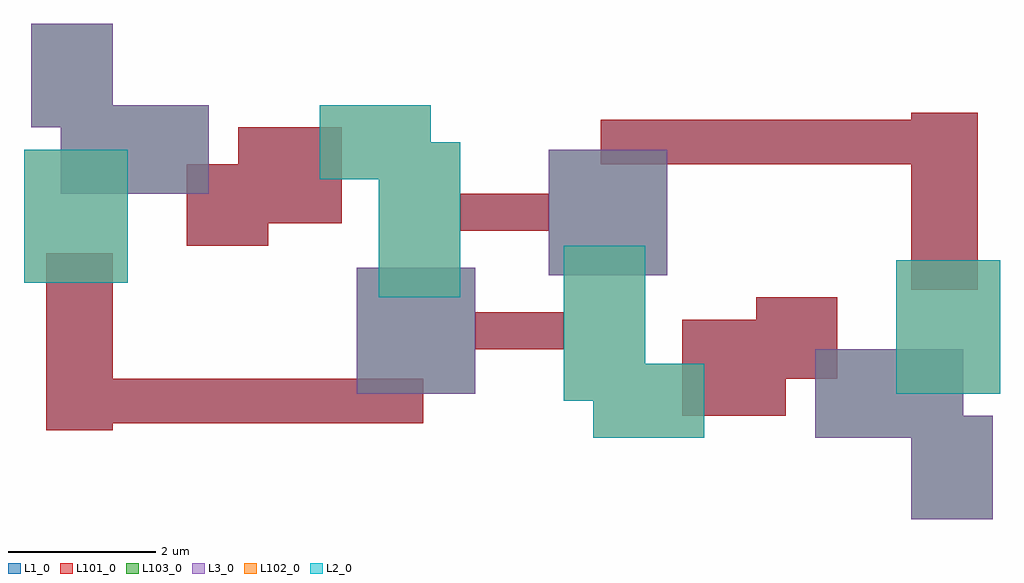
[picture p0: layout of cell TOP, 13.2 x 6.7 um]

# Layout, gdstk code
from math import pi, radians
import gdstk
lib = gdstk.Library(unit=1e-6, precision=1e-09)
def R(c, l, rs):  # rectangles x0, y0, x1, y1
    for r in rs: c.add(gdstk.rectangle(r[:2], r[2:], *l))
L1_0 = (1, 0)
L2_0 = (2, 0)
L3_0 = (3, 0)
L101_0 = (101, 0)
L102_0 = (102, 0)
L103_0 = (103, 0)

c_c1 = lib.new_cell('C1')
R(c_c1, L1_0, [(-2.7,-3.3,-1.8,-0.9), (-2.1,-3.2,2.4,-2.6), (-0.8,-0.8,0.3,0.3), (-0.1,-0.5,1.3,0.8)])
R(c_c1, L2_0, [(1.8,-1.5,2.9,0.6), (-3,-1.3,-1.6,0.5), (1,0.1,2.5,1.1)])
R(c_c1, L3_0, [(1.5,-2.8,3.1,-1.1), (-2.5,-0.1,-0.5,1.1), (-2.9,0.8,-1.8,2.2)])

top = lib.new_cell('TOP')
R(top, L1_0, [(2.8,-1.9,4,-1.4), (2.6,-0.3,3.8,0.2)])
R(top, L101_0, [(-3,-3,-2.1,-0.6), (-2.4,-2.9,2.1,-2.3), (5.6,-2.8,7,-1.5), (6.6,-2.3,7.7,-1.2), (2.8,-1.9,4,-1.4), (8.7,-1.1,9.6,1.3), (-1.1,-0.5,0,0.6), (2.6,-0.3,3.8,0.2), (-0.4,-0.2,1,1.1), (4.5,0.6,9,1.2)])
R(top, L102_0, [(4.4,-3.1,5.9,-2.1), (4,-2.6,5.1,-0.5), (8.5,-2.5,9.9,-0.7), (1.5,-1.2,2.6,0.9), (-3.3,-1,-1.9,0.8), (0.7,0.4,2.2,1.4)])
R(top, L103_0, [(8.7,-4.2,9.8,-2.8), (7.4,-3.1,9.4,-1.9), (1.2,-2.5,2.8,-0.8), (3.8,-0.9,5.4,0.8), (-2.8,0.2,-0.8,1.4), (-3.2,1.1,-2.1,2.5)])
top.add(gdstk.Reference(c_c1, (-0.3,0.3)))
top.add(gdstk.Reference(c_c1, (6.9,-2), rotation=pi))

lib.write_gds('TOP.gds')
